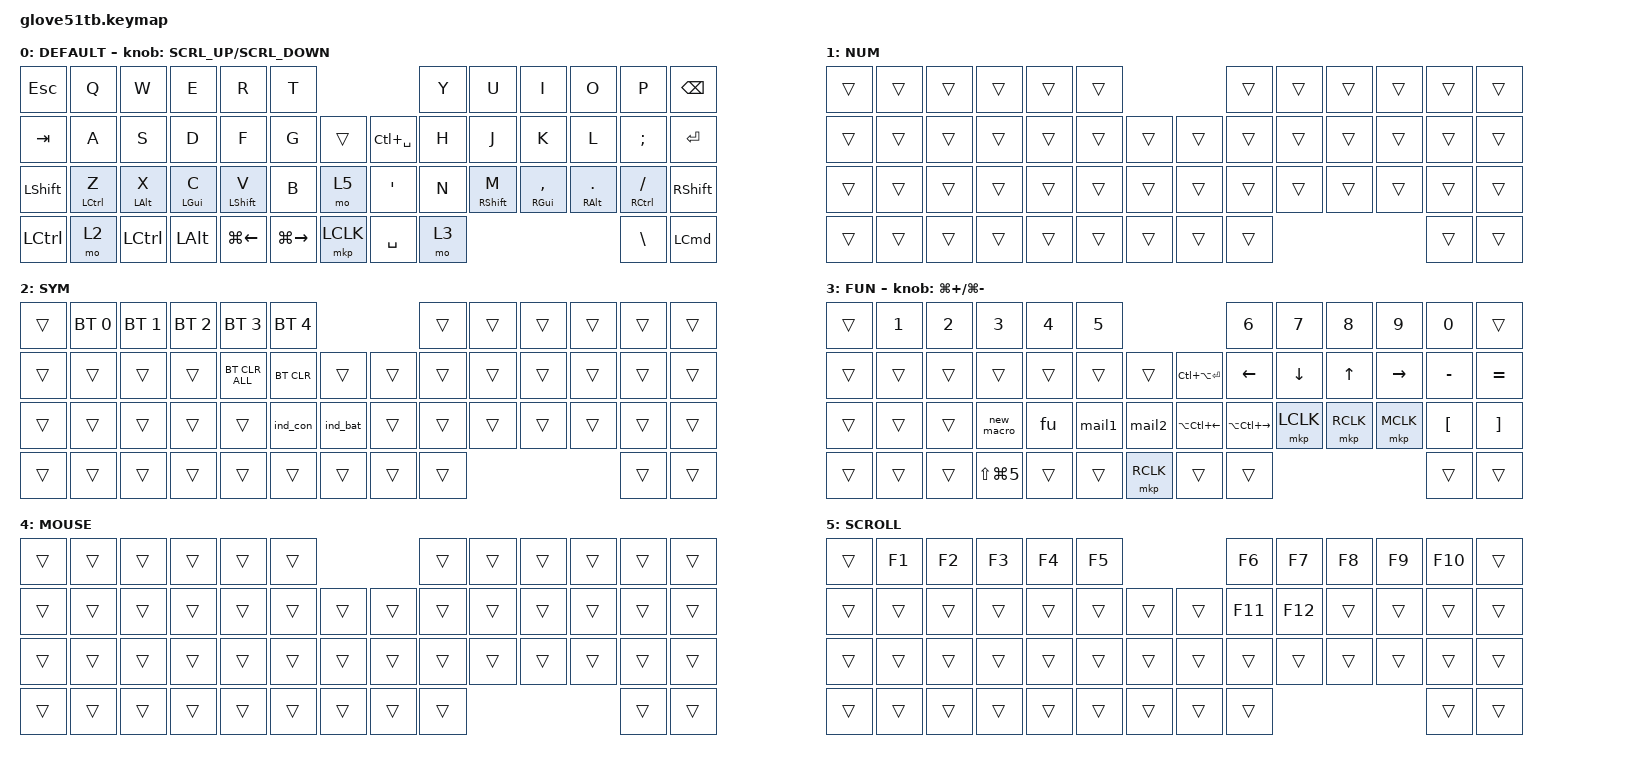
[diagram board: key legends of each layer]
#define ZMK_POINTING_DEFAULT_SCRL_VAL 150

#include <behaviors/rgbled_widget.dtsi>
#include <dt-bindings/zmk/input_transform.h>
#include <input/processors.dtsi>
#include <zephyr/dt-bindings/input/input-event-codes.h>
#include <behaviors.dtsi>
#include <dt-bindings/zmk/bt.h>
#include <dt-bindings/zmk/keys.h>
#include <dt-bindings/zmk/pointing.h>

// Layer Numbering

#define DEFAULT 0
#define NUM     1
#define SYM     2
#define FUN     3
#define MOUSE   4
#define SCROLL  5

&mmv {
    delay-ms = <20>;
    trigger-period-ms = <5>;
    time-to-max-speed-ms = <100>;
    acceleration-exponent = <2>;
};

&msc {
    delay-ms = <3>;
    trigger-period-ms = <3>;
    time-to-max-speed-ms = <100>;
    acceleration-exponent = <0>;
};

/ {
    input_processors {
        zip_wheel_scaler: zip_wheel_scaler {
            compatible = "zmk,input-processor-scaler";
            #input-processor-cells = <2>;
            type = <INPUT_EV_REL>;
            codes = <INPUT_REL_WHEEL>;
            track-remainders;
        };
    };
};

/ {
    combos {
        compatible = "zmk,combos";

        scroll {
            bindings = <&mo 5>;
            key-positions = <35 36>;
        };
    };

    behaviors {
        sensor_rotate_kp: sensor_rotate_kp {
            compatible = "zmk,behavior-sensor-rotate-var";
            #sensor-binding-cells = <2>;
            bindings = <&kp>, <&kp>;
        };

        mouse_wheel_scroll: mouse_wheel_scroll {
            compatible = "zmk,behavior-sensor-rotate-var";
            #sensor-binding-cells = <2>;
            bindings = <&msc>, <&msc>;

            tap-ms = <20>;
        };
    };

    macros {
        mail1: mail1 {
            compatible = "zmk,behavior-macro";
            #binding-cells = <0>;
            bindings = <&none &kp O &kp S &kp E &kp W &kp A &kp SPACE &kp N &kp I &kp SPACE &kp N &kp A &kp T &kp T &kp E &kp SPACE &kp O &kp R &kp I &kp M &kp A &kp S &kp U &kp DOT &kp ENTER &kp ENTER>;
            label = "MAIL1";
        };

        mail2: mail2 {
            compatible = "zmk,behavior-macro";
            #binding-cells = <0>;
            bindings = <&none &kp Y &kp O &kp R &kp O &kp S &kp I &kp K &kp U &kp SPACE &kp O &kp N &kp E &kp G &kp A &kp I &kp SPACE &kp I &kp T &kp A &kp S &kp H &kp I &kp M &kp A &kp S &kp U &kp DOT &kp ENTER &kp ENTER>;
            label = "MAIL2";
        };

        new_macro: new_macro {
            compatible = "zmk,behavior-macro";
            #binding-cells = <0>;
            bindings = <&none &kp LS(R) &kp I &kp L &kp K &kp I &kp D &kp N2 &kp N3 &kp N7 &kp N5>;
            label = "NEW_MACRO";
        };

        fu: fu {
            compatible = "zmk,behavior-macro";
            #binding-cells = <0>;
            bindings = <&none &kp N5 &kp N6 &kp N4 &kp LS(X) &kp LS(K) &kp LS(B) &kp LS(M) &kp K &kp DOT &kp Z &kp MINUS &kp P &kp DOT &kp N &kp LS(Y)>;
            label = "FU";
        };
    };

    keymap {
        compatible = "zmk,keymap";

        default_layer {
            label = "DEFAULT";
            bindings = <
&kp ESC           &kp Q               &kp W             &kp E           &kp R             &kp T                                       &kp Y  &kp U              &kp I                &kp O                 &kp P                   &kp BSPC
&kp TAB           &kp A               &kp S             &kp D           &kp F             &kp G          &trans     &kp LC(SPACE)     &kp H  &kp J              &kp K                &kp L                 &kp SEMI                &kp RETURN
&kp LEFT_SHIFT    &mt LEFT_CONTROL Z  &mt LEFT_ALT X    &mt LEFT_GUI C  &mt LEFT_SHIFT V  &kp B          &mo 5      &kp SINGLE_QUOTE  &kp N  &mt RIGHT_SHIFT M  &mt RIGHT_GUI COMMA  &mt RIGHT_ALT PERIOD  &mt RIGHT_CONTROL FSLH  &kp RIGHT_SHIFT
&kp LEFT_CONTROL  &mo 2               &kp LEFT_CONTROL  &kp LEFT_ALT    &kp LG(LEFT)      &kp LG(RIGHT)  &mkp LCLK  &kp SPACE         &mo 3                                                                &kp BACKSLASH           &kp LEFT_COMMAND
            >;

            sensor-bindings = <&mouse_wheel_scroll SCRL_UP SCRL_DOWN>;
        };

        number_layer {
            label = "NUM";
            bindings = <
&trans  &trans  &trans  &trans  &trans  &trans                  &trans  &trans  &trans  &trans  &trans  &trans
&trans  &trans  &trans  &trans  &trans  &trans  &trans  &trans  &trans  &trans  &trans  &trans  &trans  &trans
&trans  &trans  &trans  &trans  &trans  &trans  &trans  &trans  &trans  &trans  &trans  &trans  &trans  &trans
&trans  &trans  &trans  &trans  &trans  &trans  &trans  &trans  &trans                          &trans  &trans
            >;
        };

        symbol_layer {
            label = "SYM";
            bindings = <
&trans  &bt BT_SEL 0  &bt BT_SEL 1  &bt BT_SEL 2  &bt BT_SEL 3    &bt BT_SEL 4                    &trans  &trans  &trans  &trans  &trans  &trans
&trans  &trans        &trans        &trans        &bt BT_CLR_ALL  &bt BT_CLR    &trans    &trans  &trans  &trans  &trans  &trans  &trans  &trans
&trans  &trans        &trans        &trans        &trans          &ind_con      &ind_bat  &trans  &trans  &trans  &trans  &trans  &trans  &trans
&trans  &trans        &trans        &trans        &trans          &trans        &trans    &trans  &trans                          &trans  &trans
            >;
        };

        function_layer {
            label = "FUN";
            bindings = <
&trans  &kp NUMBER_1  &kp NUMBER_2  &kp NUMBER_3    &kp NUMBER_4  &kp NUMBER_5                                     &kp NUMBER_6             &kp NUMBER_7    &kp NUMBER_8  &kp NUMBER_9     &kp NUMBER_0      &trans
&trans  &trans        &trans        &trans          &trans        &trans        &trans     &kp LC(LA(ENTER))       &kp LEFT_ARROW           &kp DOWN_ARROW  &kp UP_ARROW  &kp RIGHT_ARROW  &kp MINUS         &kp EQUAL
&trans  &trans        &trans        &new_macro      &fu           &mail1        &mail2     &kp LA(LC(LEFT_ARROW))  &kp LA(LC(RIGHT_ARROW))  &mkp LCLK       &mkp RCLK     &mkp MCLK        &kp LEFT_BRACKET  &kp RIGHT_BRACKET
&trans  &trans        &trans        &kp LS(LG(N5))  &trans        &trans        &mkp RCLK  &trans                  &trans                                                                  &trans            &trans
            >;

            sensor-bindings = <&sensor_rotate_kp LG(PLUS) LG(MINUS)>;
        };

        mouse_layer {
            label = "MOUSE";
            bindings = <
&trans  &trans  &trans  &trans  &trans  &trans                  &trans  &trans  &trans  &trans  &trans  &trans
&trans  &trans  &trans  &trans  &trans  &trans  &trans  &trans  &trans  &trans  &trans  &trans  &trans  &trans
&trans  &trans  &trans  &trans  &trans  &trans  &trans  &trans  &trans  &trans  &trans  &trans  &trans  &trans
&trans  &trans  &trans  &trans  &trans  &trans  &trans  &trans  &trans                          &trans  &trans
            >;
        };

        scroll_layer {
            label = "SCROLL";
            bindings = <
&trans  &kp F1  &kp F2  &kp F3  &kp F4  &kp F5                  &kp F6   &kp F7   &kp F8  &kp F9  &kp F10  &trans
&trans  &trans  &trans  &trans  &trans  &trans  &trans  &trans  &kp F11  &kp F12  &trans  &trans  &trans   &trans
&trans  &trans  &trans  &trans  &trans  &trans  &trans  &trans  &trans   &trans   &trans  &trans  &trans   &trans
&trans  &trans  &trans  &trans  &trans  &trans  &trans  &trans  &trans                            &trans   &trans
            >;
        };
    };
};
